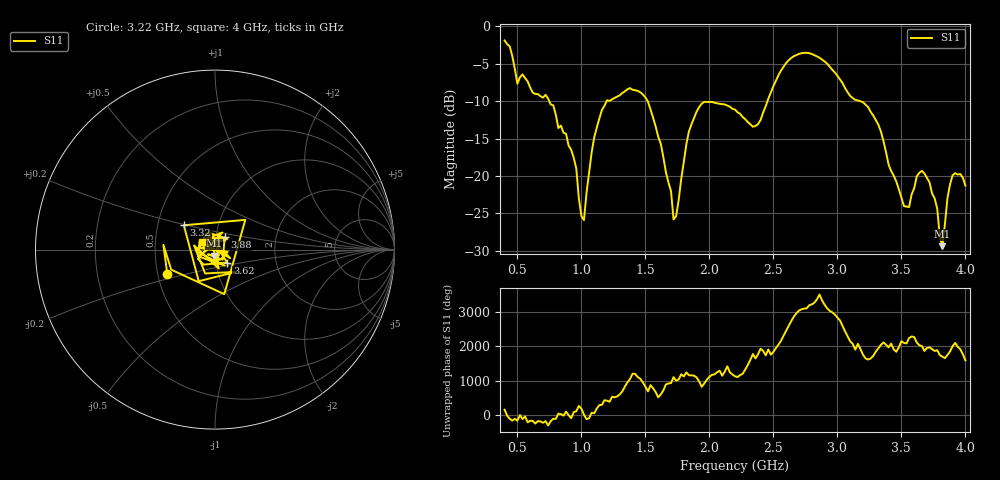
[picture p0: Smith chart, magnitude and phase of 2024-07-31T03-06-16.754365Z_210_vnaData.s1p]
!Created with skrf (http://scikit-rf.org).
# Hz S RI R 50.0
!freq ReS11 ImS11
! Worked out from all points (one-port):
!   181 points, 400 MHz to 4 GHz, reference 50 ohm
!   lowest |S11| = -29.4 dB at 3.82 GHz (marker M1), VSWR 1.07, Z = 49.3 - j3.3 ohm
!   |S11| at or under -10 dB: 748.6 MHz to 1.197 GHz (448.1 MHz wide, 46.1 % of centre); 1.517 GHz to 2.454 GHz (936.2 MHz wide, 47.2 % of centre); 3.177 GHz to end of sweep
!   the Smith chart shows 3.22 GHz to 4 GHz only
!   S11 on the Smith chart (normalised r, x): 3.22 GHz: 0.56, -0.17; 3.32 GHz: 0.68, +0.19; 3.62 GHz: 1.13, -0.16; 3.88 GHz: 1.10, +0.15; 4 GHz: 0.86, +0.07
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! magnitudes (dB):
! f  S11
! 400 MHz  -1.9
! 500 MHz  -7.7
! 720 MHz  -9.1
! 860 MHz  -14.2
! 960 MHz  -19.0
! 1.02 GHz  -25.9
! 1.08 GHz  -16.9
! 1.14 GHz  -12.3
! 1.3 GHz  -9.2
! 1.52 GHz  -10.1
! 1.62 GHz  -15.7
! 1.72 GHz  -25.8
! 1.76 GHz  -23.2
! 1.84 GHz  -14.1
! 1.92 GHz  -10.8
! 2.2 GHz  -11.1
! 2.38 GHz  -13.1
! 2.66 GHz  -4.0
! 2.88 GHz  -4.4
! 3.1 GHz  -9.3
! 3.22 GHz  -10.5
! 3.32 GHz  -13.1
! 3.56 GHz  -24.2
! 3.62 GHz  -20.1
! 3.72 GHz  -20.9
! 3.82 GHz  -29.4
! 3.88 GHz  -21.1
! 4 GHz  -21.3
